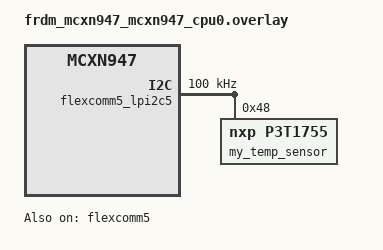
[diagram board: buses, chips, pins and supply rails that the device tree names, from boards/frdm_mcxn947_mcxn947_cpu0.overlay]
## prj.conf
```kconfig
CONFIG_I2C=y
CONFIG_I2C_TARGET=y
CONFIG_SHELL=y
CONFIG_I2C_SHELL=y

CONFIG_LOG=y

CONFIG_NEWLIB_LIBC=y
CONFIG_NEWLIB_LIBC_FLOAT_PRINTF=y

CONFIG_FPU=y

#usefule for seeing runtime info.
CONFIG_KERNEL_SHELL=y
CONFIG_THREAD_MONITOR=y

#add a reboot command
CONFIG_REBOOT=y

CONFIG_SENSOR=y
CONFIG_SENSOR_SHELL=y
CONFIG_SENSOR_INFO=y
```

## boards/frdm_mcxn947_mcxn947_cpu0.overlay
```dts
/*
 * Copyright (c) 2024 Open Pixel Systems
 *
 * SPDX-License-Identifier: Apache-2.0
 */

&flexcomm5 {
	status = "okay";
};

&flexcomm5_lpi2c5 {
	status = "okay";
	pinctrl-0 = <&pinmux_flexcomm5_lpi2c>;
	pinctrl-names = "default";
	clock-frequency = <I2C_BITRATE_STANDARD>;

	p3t1755: p3t1755@4800000236152a0090 {
		compatible = "nxp,p3t1755";
		reg = <0x48 0x0236 0x152a0090>;
		status = "okay";
		label = "my_temp_sensor";
	};
};


&pinctrl {
	pinmux_flexcomm5_lpi2c: pinmux_flexcomm5_lpi2c {
		group0 {
			pinmux = <FC5_P0_PIO1_16>,	//SDA
					 <FC5_P1_PIO1_17>;	//SCL
			slew-rate = "fast";
			drive-strength = "low";
			input-enable;
			bias-pull-up;
			drive-open-drain;
		};
	};
};
```

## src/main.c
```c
#include <zephyr/kernel.h>
#include <zephyr/sys/printk.h>
#include <zephyr/drivers/i2c.h>
#include <zephyr/shell/shell.h>
#include <zephyr/logging/log.h>


#if CONFIG_BOARD_FRDM_MCXN947 == 1

#define TEMP_SENSOR_I2C_ADDRESS		0x48
#define TEMP_SENSOR_RESOLUTION		0.0625f		//0.0625 °C

static const struct device * temp_sensor_i2c = DEVICE_DT_GET(DT_NODELABEL(flexcomm5_lpi2c5));

static int read_temperature_handler(const struct shell *shell, size_t argc, char **argv)
{
	ARG_UNUSED(argc);
	ARG_UNUSED(argv);

	uint8_t read_values [2];
	int16_t temperature_register_value;
	float temperature_value;
	int error;

	error = i2c_read(temp_sensor_i2c, read_values, 2, TEMP_SENSOR_I2C_ADDRESS);
	
	if(error != 0)
	{
		shell_fprintf(shell,
                       SHELL_VT100_COLOR_RED,
                       "No communication with temperature sensor\n");
		return error;
	}

	shell_fprintf(shell,
                 SHELL_VT100_COLOR_DEFAULT,
                  "\np3t1755 data reg : %02x %02x \n", read_values[0], read_values[1]);
	
	temperature_register_value = ((int16_t)read_values[0] << 8) | (int16_t)read_values[1];
	temperature_value = (temperature_register_value >> 4) * TEMP_SENSOR_RESOLUTION;
	
	shell_fprintf(shell, 
                  SHELL_VT100_COLOR_DEFAULT,
                   "\nTemperature : %.1f °C \n\n", (double)temperature_value);

	return 0; 
}

SHELL_CMD_REGISTER(read_temperature, NULL, "Read the P3T1755DP temperature sensor of the FRDM board", read_temperature_handler);

#endif

LOG_MODULE_REGISTER(I2C_SHELL);

int main(void)
{	

	#if CONFIG_BOARD_FRDM_MCXN947 == 1
		if (!device_is_ready(temp_sensor_i2c))
		{
			LOG_ERR("temp_sensor_i2c device not found!");
			return 1;
		}
	#endif


	while(1)
	{
		k_msleep(50);
	}
	
	
	return 0;
}
```
